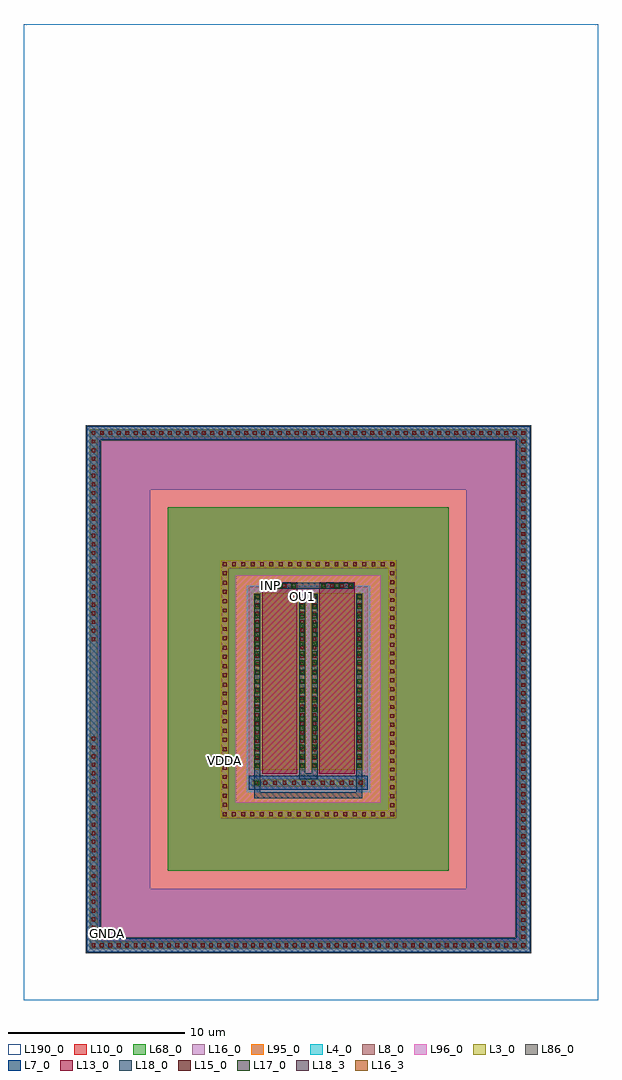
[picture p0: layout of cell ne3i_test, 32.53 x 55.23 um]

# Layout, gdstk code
import gdstk
lib = gdstk.Library(unit=1e-6, precision=1e-09)
def R(c, l, rs):  # rectangles x0, y0, x1, y1
    for r in rs: c.add(gdstk.rectangle(r[:2], r[2:], *l))
def A(c, l, x, y, w, h, nx, ny, dx, dy):  # array of equal rectangles
    R(c, l, [(x+i*dx, y+j*dy, x+i*dx+w, y+j*dy+h) for i in range(nx) for j in range(ny)])
L3_0 = (3, 0)
L4_0 = (4, 0)
L7_0 = (7, 0)
L8_0 = (8, 0)
L10_0 = (10, 0)
L13_0 = (13, 0)
L15_0 = (15, 0)
L16_0 = (16, 0)
L16_3 = (16, 3)
L17_0 = (17, 0)
L18_0 = (18, 0)
L18_3 = (18, 3)
L68_0 = (68, 0)
L86_0 = (86, 0)
L95_0 = (95, 0)
L96_0 = (96, 0)
L190_0 = (190, 0)

ne3i_6_cdns_719158440240 = lib.new_cell('ne3i_6_CDNS_719158440240')
R(ne3i_6_cdns_719158440240, L3_0, [(-0.48,0,0,10), (0,0,2,10), (2,0,2.48,10)])
R(ne3i_6_cdns_719158440240, L4_0, [(-0.88,-1.27,2.88,10.4), (-0.88,-1.27,2.88,10.4)])
R(ne3i_6_cdns_719158440240, L7_0, [(-0.74,-1.13,2.74,-0.35)])
R(ne3i_6_cdns_719158440240, L8_0, [(-0.74,-0.35,2.74,10.35), (-0.74,-0.35,2.74,10.35)])
R(ne3i_6_cdns_719158440240, L10_0, [(-8.06,-8.45,10.06,18.57)])
R(ne3i_6_cdns_719158440240, L13_0, [(0,-0.22,2,0), (0,-0.22,2,-0.12), (0,0,2,10), (0,10,2,10.2)])
A(ne3i_6_cdns_719158440240, L15_0, -0.46, -0.85, 0.22, 0.22, 6, 1, 0.54, 0)
A(ne3i_6_cdns_719158440240, L15_0, -0.38, 0.1, 0.22, 0.22, 1, 17, 0, 0.48)
A(ne3i_6_cdns_719158440240, L15_0, 2.16, 0.1, 0.22, 0.22, 1, 17, 0, 0.48)
A(ne3i_6_cdns_719158440240, L15_0, -0.38, 8.255, 0.22, 0.22, 1, 4, 0, 0.475)
A(ne3i_6_cdns_719158440240, L15_0, 2.16, 8.255, 0.22, 0.22, 1, 4, 0, 0.475)
A(ne3i_6_cdns_719158440240, L15_0, 0.63, 10.3, 0.22, 0.22, 3, 1, 0.525, 0)
R(ne3i_6_cdns_719158440240, L15_0, [(0.1,10.3,0.32,10.52)])
A(ne3i_6_cdns_719158440240, L17_0, -0.4, 0.1, 0.26, 0.26, 1, 19, 0, 0.53)
A(ne3i_6_cdns_719158440240, L17_0, 2.14, 0.1, 0.26, 0.26, 1, 19, 0, 0.53)
A(ne3i_6_cdns_719158440240, L17_0, 0.1, 10.28, 0.26, 0.26, 3, 1, 0.77, 0)
R(ne3i_6_cdns_719158440240, L68_0, [(-4.06,-4.45,6.06,14.57)])
R(ne3i_6_cdns_719158440240, L95_0, [(-1.48,-1.87,3.48,11)])
R(ne3i_6_cdns_719158440240, L96_0, [(-1.48,-1.87,3.48,11)])
ne3i_6_cdns_719158440240.add(gdstk.FlexPath([(0,10.41),(2,10.41)], 0.42, ends="flush", simple_path=True, layer=13, datatype=0))  # L13_0
ne3i_6_cdns_719158440240.add(gdstk.FlexPath([(-0.56,-0.74),(2.56,-0.74)], 0.42, ends="flush", simple_path=True, layer=3, datatype=0))  # L3_0
ne3i_6_cdns_719158440240.add(gdstk.FlexPath([(2.27,0.04),(2.27,9.96)], 0.34, ends="flush", simple_path=True, layer=18, datatype=0))  # L18_0
ne3i_6_cdns_719158440240.add(gdstk.FlexPath([(-0.27,0.04),(-0.27,9.96)], 0.34, ends="flush", simple_path=True, layer=18, datatype=0))  # L18_0
ne3i_6_cdns_719158440240.add(gdstk.FlexPath([(0.04,10.41),(1.96,10.41)], 0.34, ends="flush", simple_path=True, layer=18, datatype=0))  # L18_0
ne3i_6_cdns_719158440240.add(gdstk.FlexPath([(-0.52,-0.74),(2.52,-0.74)], 0.34, ends="flush", simple_path=True, layer=16, datatype=0))  # L16_0
ne3i_6_cdns_719158440240.add(gdstk.FlexPath([(2.27,0.04),(2.27,9.96)], 0.34, ends="flush", simple_path=True, layer=16, datatype=0))  # L16_0
ne3i_6_cdns_719158440240.add(gdstk.FlexPath([(-0.27,0.04),(-0.27,9.96)], 0.34, ends="flush", simple_path=True, layer=16, datatype=0))  # L16_0
ne3i_6_cdns_719158440240.add(gdstk.FlexPath([(0.04,10.41),(1.96,10.41)], 0.34, ends="flush", simple_path=True, layer=16, datatype=0))  # L16_0
ne3i_6_cdns_719158440240.add(gdstk.FlexPath([(-0.74,-0.74),(2.74,-0.74)], 0.78, ends="flush", simple_path=True, layer=7, datatype=0))  # L7_0
ne3i_6_cdns_719158440240.add(gdstk.Label('G', (1,-0.17), layer=13, texttype=0))
ne3i_6_cdns_719158440240.add(gdstk.Label('D', (2.24,5), layer=3, texttype=0))
ne3i_6_cdns_719158440240.add(gdstk.Label('S', (-0.24,5), layer=3, texttype=0))
ne3i_6_cdns_719158440240.add(gdstk.Label('6T', (1,5), layer=13, texttype=5))
ne3i_6_cdns_719158440240.add(gdstk.Label('D', (2.27,0.04), layer=18, texttype=0))
ne3i_6_cdns_719158440240.add(gdstk.Label('S', (-0.27,0.04), layer=18, texttype=0))
ne3i_6_cdns_719158440240.add(gdstk.Label('G', (0.04,10.41), layer=18, texttype=0))
ne3i_6_cdns_719158440240.add(gdstk.Label('B', (-0.52,-0.74), layer=16, texttype=0))
ne3i_6_cdns_719158440240.add(gdstk.Label('[@instanceName]', (1,5.135), layer=230, texttype=0))

ne3i_6_cdns_719158440241 = lib.new_cell('ne3i_6_CDNS_719158440241')
R(ne3i_6_cdns_719158440241, L3_0, [(-0.48,0,0,10), (0,0,2,10), (2,0,2.48,10)])
R(ne3i_6_cdns_719158440241, L4_0, [(-0.88,-1.27,2.88,10.4), (-0.88,-1.27,2.88,10.4)])
R(ne3i_6_cdns_719158440241, L7_0, [(-0.74,-1.13,2.74,-0.35)])
R(ne3i_6_cdns_719158440241, L8_0, [(-0.74,-0.35,2.74,10.35), (-0.74,-0.35,2.74,10.35)])
R(ne3i_6_cdns_719158440241, L10_0, [(-8.06,-8.45,10.06,18.57)])
R(ne3i_6_cdns_719158440241, L13_0, [(0,-0.22,2,0), (0,-0.22,2,-0.12), (0,0,2,10), (0,10,2,10.2)])
A(ne3i_6_cdns_719158440241, L15_0, -0.46, -0.85, 0.22, 0.22, 6, 1, 0.54, 0)
A(ne3i_6_cdns_719158440241, L15_0, -0.38, 0.1, 0.22, 0.22, 1, 17, 0, 0.48)
A(ne3i_6_cdns_719158440241, L15_0, 2.16, 0.1, 0.22, 0.22, 1, 17, 0, 0.48)
A(ne3i_6_cdns_719158440241, L15_0, -0.38, 8.255, 0.22, 0.22, 1, 4, 0, 0.475)
A(ne3i_6_cdns_719158440241, L15_0, 2.16, 8.255, 0.22, 0.22, 1, 4, 0, 0.475)
A(ne3i_6_cdns_719158440241, L15_0, 0.63, 10.3, 0.22, 0.22, 3, 1, 0.525, 0)
R(ne3i_6_cdns_719158440241, L15_0, [(0.1,10.3,0.32,10.52)])
A(ne3i_6_cdns_719158440241, L17_0, -0.4, 0.1, 0.26, 0.26, 1, 19, 0, 0.53)
A(ne3i_6_cdns_719158440241, L17_0, 2.14, 0.1, 0.26, 0.26, 1, 19, 0, 0.53)
A(ne3i_6_cdns_719158440241, L17_0, 0.1, 10.28, 0.26, 0.26, 3, 1, 0.77, 0)
R(ne3i_6_cdns_719158440241, L68_0, [(-4.06,-4.45,6.06,14.57)])
R(ne3i_6_cdns_719158440241, L95_0, [(-1.48,-1.87,3.48,11)])
R(ne3i_6_cdns_719158440241, L96_0, [(-1.48,-1.87,3.48,11)])
ne3i_6_cdns_719158440241.add(gdstk.FlexPath([(0,10.41),(2,10.41)], 0.42, ends="flush", simple_path=True, layer=13, datatype=0))  # L13_0
ne3i_6_cdns_719158440241.add(gdstk.FlexPath([(-0.56,-0.74),(2.56,-0.74)], 0.42, ends="flush", simple_path=True, layer=3, datatype=0))  # L3_0
ne3i_6_cdns_719158440241.add(gdstk.FlexPath([(2.27,0.04),(2.27,9.96)], 0.34, ends="flush", simple_path=True, layer=18, datatype=0))  # L18_0
ne3i_6_cdns_719158440241.add(gdstk.FlexPath([(-0.27,0.04),(-0.27,9.96)], 0.34, ends="flush", simple_path=True, layer=18, datatype=0))  # L18_0
ne3i_6_cdns_719158440241.add(gdstk.FlexPath([(0.04,10.41),(1.96,10.41)], 0.34, ends="flush", simple_path=True, layer=18, datatype=0))  # L18_0
ne3i_6_cdns_719158440241.add(gdstk.FlexPath([(-0.52,-0.74),(2.52,-0.74)], 0.34, ends="flush", simple_path=True, layer=16, datatype=0))  # L16_0
ne3i_6_cdns_719158440241.add(gdstk.FlexPath([(2.27,0.04),(2.27,9.96)], 0.34, ends="flush", simple_path=True, layer=16, datatype=0))  # L16_0
ne3i_6_cdns_719158440241.add(gdstk.FlexPath([(-0.27,0.04),(-0.27,9.96)], 0.34, ends="flush", simple_path=True, layer=16, datatype=0))  # L16_0
ne3i_6_cdns_719158440241.add(gdstk.FlexPath([(0.04,10.41),(1.96,10.41)], 0.34, ends="flush", simple_path=True, layer=16, datatype=0))  # L16_0
ne3i_6_cdns_719158440241.add(gdstk.FlexPath([(-0.74,-0.74),(2.74,-0.74)], 0.78, ends="flush", simple_path=True, layer=7, datatype=0))  # L7_0
ne3i_6_cdns_719158440241.add(gdstk.Label('G', (1,-0.17), layer=13, texttype=0))
ne3i_6_cdns_719158440241.add(gdstk.Label('D', (2.24,5), layer=3, texttype=0))
ne3i_6_cdns_719158440241.add(gdstk.Label('S', (-0.24,5), layer=3, texttype=0))
ne3i_6_cdns_719158440241.add(gdstk.Label('6T', (1,5), layer=13, texttype=5))
ne3i_6_cdns_719158440241.add(gdstk.Label('D', (2.27,0.04), layer=18, texttype=0))
ne3i_6_cdns_719158440241.add(gdstk.Label('S', (-0.27,0.04), layer=18, texttype=0))
ne3i_6_cdns_719158440241.add(gdstk.Label('G', (0.04,10.41), layer=18, texttype=0))
ne3i_6_cdns_719158440241.add(gdstk.Label('B', (-0.52,-0.74), layer=16, texttype=0))
ne3i_6_cdns_719158440241.add(gdstk.Label('[@instanceName]', (1,5.135), layer=230, texttype=0))

via1_c_cdns_719158440240 = lib.new_cell('VIA1_C_CDNS_719158440240')
R(via1_c_cdns_719158440240, L16_0, [(-0.17,-0.19,0.17,0.19)])
R(via1_c_cdns_719158440240, L17_0, [(-0.13,-0.13,0.13,0.13)])
R(via1_c_cdns_719158440240, L18_0, [(-0.19,-0.17,0.19,0.17)])

ne3i_test = lib.new_cell('ne3i_test')
R(ne3i_test, L3_0, [(15.95,12.08,16.305,12.5)])
A(ne3i_test, L15_0, 3.845, 2.99, 0.22, 0.22, 33, 1, 0.475, 0)
A(ne3i_test, L15_0, 19.525, 2.99, 0.22, 0.22, 19, 1, 0.48, 0)
A(ne3i_test, L15_0, 28.165, 3.465, 0.22, 0.22, 1, 58, 0, 0.475)
A(ne3i_test, L15_0, 3.845, 3.48, 0.22, 0.22, 1, 7, 0, 0.49)
A(ne3i_test, L15_0, 3.845, 6.905, 0.22, 0.22, 1, 17, 0, 0.485)
A(ne3i_test, L15_0, 11.265, 10.41, 0.22, 0.22, 13, 1, 0.525, 0)
A(ne3i_test, L15_0, 18.095, 10.41, 0.22, 0.22, 6, 1, 0.53, 0)
A(ne3i_test, L15_0, 20.745, 10.915, 0.22, 0.22, 1, 26, 0, 0.505)
A(ne3i_test, L15_0, 11.265, 10.935, 0.22, 0.22, 1, 13, 0, 0.525)
A(ne3i_test, L15_0, 11.265, 17.735, 0.22, 0.22, 1, 13, 0, 0.525)
A(ne3i_test, L15_0, 3.845, 20.305, 0.22, 0.22, 1, 8, 0, 0.49)
A(ne3i_test, L15_0, 3.845, 24.22, 0.22, 0.22, 1, 16, 0, 0.485)
A(ne3i_test, L15_0, 11.265, 24.56, 0.22, 0.22, 7, 1, 0.53, 0)
A(ne3i_test, L15_0, 14.97, 24.56, 0.22, 0.22, 12, 1, 0.525, 0)
A(ne3i_test, L15_0, 3.845, 31.98, 0.22, 0.22, 20, 1, 0.48, 0)
A(ne3i_test, L15_0, 13.44, 31.98, 0.22, 0.22, 32, 1, 0.475, 0)
R(ne3i_test, L15_0, [(20.745,24.05,20.965,24.27), (28.165,31.02,28.385,31.24), (28.165,31.5,28.385,31.72)])
R(ne3i_test, L16_0, [(4.44,3.455,5.075,4.07), (15.87,12.12,16.32,12.46), (11.22,13.39,11.515,13.755)])
R(ne3i_test, L16_3, [(4.655,3.645,4.885,3.875), (11.255,13.455,11.485,13.685)])
R(ne3i_test, L18_0, [(15.595,22.635,15.93,22.985), (13.8,23.275,14.215,23.595)])
R(ne3i_test, L18_3, [(15.625,22.685,15.905,22.965), (13.86,23.305,14.14,23.585)])
R(ne3i_test, L68_0, [(8.165,7.31,24.065,27.88)])
R(ne3i_test, L95_0, [(12.015,11.16,20.215,24.03)])
R(ne3i_test, L190_0, [(0,0,32.53,55.235)])
ne3i_test.add(gdstk.FlexPath([(3.955,17.595),(3.955,32.09),(28.275,32.09),(28.275,3.1),(3.955,3.1),(3.955,17.595)], 0.9, ends="flush", simple_path=True, layer=86, datatype=0))  # L86_0
ne3i_test.add(gdstk.FlexPath([(6.165,17.595),(6.165,29.88),(26.065,29.88),(26.065,5.31),(6.165,5.31),(6.165,17.595)], 4, ends="flush", simple_path=True, layer=10, datatype=0))  # L10_0
ne3i_test.add(gdstk.FlexPath([(3.955,17.595),(3.955,32.09),(28.275,32.09),(28.275,3.1),(3.955,3.1),(3.955,17.595)], 0.78, ends="flush", simple_path=True, layer=7, datatype=0))  # L7_0
ne3i_test.add(gdstk.FlexPath([(11.375,17.595),(11.375,24.67),(20.855,24.67),(20.855,10.52),(11.375,10.52),(11.375,17.595)], 0.34, ends="flush", simple_path=True, layer=16, datatype=0))  # L16_0
ne3i_test.add(gdstk.FlexPath([(5.475,17.595),(5.475,30.57),(26.755,30.57),(26.755,4.62),(5.475,4.62),(5.475,17.595)], 3.38, ends="flush", simple_path=True, layer=16, datatype=0))  # L16_0
ne3i_test.add(gdstk.FlexPath([(11.375,17.595),(11.375,24.67),(20.855,24.67),(20.855,10.52),(11.375,10.52),(11.375,17.595)], 0.46, ends="flush", simple_path=True, layer=8, datatype=0))  # L8_0
ne3i_test.add(gdstk.FlexPath([(13.22,11.575),(13.22,12.29)], 0.34, ends=(0.17, 0), simple_path=True, layer=18, datatype=0))  # L18_0
ne3i_test.add(gdstk.FlexPath([(19.005,11.575),(13.22,11.575)], 0.34, ends="extended", simple_path=True, layer=18, datatype=0))  # L18_0
ne3i_test.add(gdstk.FlexPath([(19.005,13.18),(19.005,11.575)], 0.34, ends=(0, 0.17), simple_path=True, layer=18, datatype=0))  # L18_0
ne3i_test.add(gdstk.FlexPath([(15.765,12.66),(15.765,13.07)], 0.34, ends=(0.17, 0), simple_path=True, layer=18, datatype=0))  # L18_0
ne3i_test.add(gdstk.FlexPath([(16.465,12.66),(15.765,12.66)], 0.34, ends="extended", simple_path=True, layer=18, datatype=0))  # L18_0
ne3i_test.add(gdstk.FlexPath([(16.465,13.14),(16.465,12.66)], 0.34, ends=(0, 0.17), simple_path=True, layer=18, datatype=0))  # L18_0
ne3i_test.add(gdstk.FlexPath([(15.285,23.44),(15.285,23.61)], 0.34, ends=(0.17, 0), simple_path=True, layer=18, datatype=0))  # L18_0
ne3i_test.add(gdstk.FlexPath([(17.375,23.44),(15.285,23.44)], 0.34, ends=(0, 0.17), simple_path=True, layer=18, datatype=0))  # L18_0
ne3i_test.add(gdstk.FlexPath([(13.225,12.29),(13.22,12.29)], 0.34, ends="extended", simple_path=True, layer=18, datatype=0))  # L18_0
ne3i_test.add(gdstk.FlexPath([(13.225,13.31),(13.225,12.29)], 0.34, ends=(0, 0.17), simple_path=True, layer=18, datatype=0))  # L18_0
ne3i_test.add(gdstk.FlexPath([(11.375,17.595),(11.375,24.67),(20.855,24.67),(20.855,10.52),(11.375,10.52),(11.375,17.595)], 0.42, ends="flush", simple_path=True, layer=3, datatype=0))  # L3_0
ne3i_test.add(gdstk.FlexPath([(3.955,17.595),(3.955,32.09),(28.275,32.09),(28.275,3.1),(3.955,3.1),(3.955,17.595)], 0.42, ends="flush", simple_path=True, layer=3, datatype=0))  # L3_0
ne3i_test.add(gdstk.Reference(ne3i_6_cdns_719158440240, (13.495,13.03)))
ne3i_test.add(gdstk.Reference(ne3i_6_cdns_719158440241, (16.735,13.03)))
ne3i_test.add(gdstk.Reference(via1_c_cdns_719158440240, (13.22,12.29)))
ne3i_test.add(gdstk.Label('OU1', (15.765,22.825), layer=18, texttype=3))
ne3i_test.add(gdstk.Label('INP', (14,23.445), layer=18, texttype=3))
ne3i_test.add(gdstk.Label('VDDA', (11.37,13.57), layer=16, texttype=3))
ne3i_test.add(gdstk.Label('GNDA', (4.77,3.76), layer=16, texttype=3))
ne3i_test.add(gdstk.Label('INP', (14,23.435), layer=18, texttype=15))
ne3i_test.add(gdstk.Label('OU1', (15.76,22.895), layer=18, texttype=15))
ne3i_test.add(gdstk.Label('OU1', (15.765,22.825), layer=18, texttype=15))
ne3i_test.add(gdstk.Label('OU1', (15.765,22.825), layer=18, texttype=15))
ne3i_test.add(gdstk.Label('OU1', (15.755,22.82), layer=18, texttype=15))
ne3i_test.add(gdstk.Label('OU1', (15.765,22.825), layer=18, texttype=15))
ne3i_test.add(gdstk.Label('GNDA', (4.795,3.77), layer=16, texttype=15))
ne3i_test.add(gdstk.Label('VDDA', (11.36,13.57), layer=16, texttype=15))

lib.write_gds('ne3i_test.gds')
